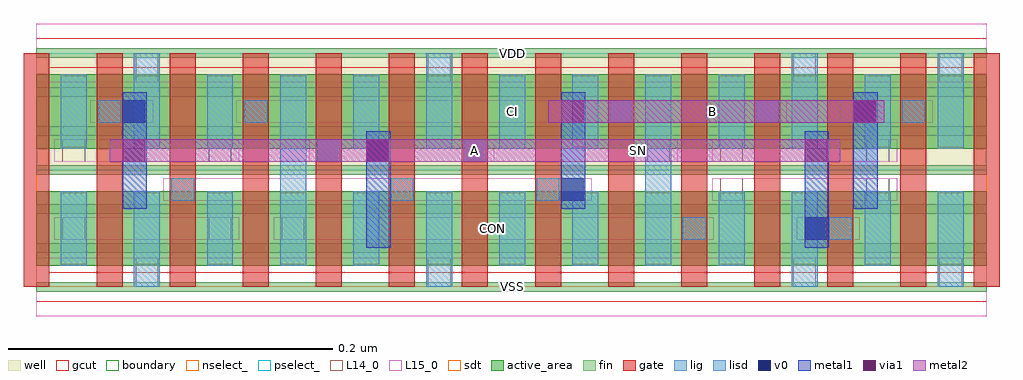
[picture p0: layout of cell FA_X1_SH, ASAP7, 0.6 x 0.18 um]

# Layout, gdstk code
import gdstk
lib = gdstk.Library(unit=1e-6, precision=1e-09)
def R(c, l, rs):  # rectangles x0, y0, x1, y1
    for r in rs: c.add(gdstk.rectangle(r[:2], r[2:], *l))
def A(c, l, x, y, w, h, nx, ny, dx, dy):  # array of equal rectangles
    R(c, l, [(x+i*dx, y+j*dy, x+i*dx+w, y+j*dy+h) for i in range(nx) for j in range(ny)])
def P(c, l, *ps):  # polygons
    for p in ps: c.add(gdstk.Polygon(p, *l))
well = (1, 0)
fin = (2, 0)
gate = (7, 0)
gcut = (10, 0)
active_area = (11, 0)
nselect_ = (12, 0)
pselect_ = (13, 0)
L14_0 = (14, 0)
L15_0 = (15, 0)
lig = (16, 0)
lisd = (17, 0)
v0 = (18, 0)
metal1 = (19, 0)
metal2 = (20, 0)
via1 = (21, 0)
sdt = (88, 0)
boundary = (100, 0)

fa_x1_sh = lib.new_cell('FA_X1_SH')
R(fa_x1_sh, well, [(0,0.072,0.585,0.144)])
A(fa_x1_sh, fin, 0, -0.003, 0.585, 0.006, 1, 7, 0, 0.024)
A(fa_x1_sh, gate, -0.008, 0, 0.016, 0.144, 14, 1, 0.045, 0)
P(fa_x1_sh, gcut, [(0,-0.009),(0,0),(-0.008,0),(-0.008,0.135),(0.008,0.135),(0.008,0.009),(0.577,0.009),(0.577,0.135),(-0.008,0.135),(-0.008,0.144),(0,0.144),(0,0.153),(0.585,0.153),(0.585,0.144),(0.593,0.144),(0.593,0),(0.585,0),(0.585,-0.009)])
R(fa_x1_sh, active_area, [(0,0.013,0.585,0.059), (0,0.085,0.585,0.131)])
R(fa_x1_sh, nselect_, [(0,0,0.585,0.072)])
R(fa_x1_sh, pselect_, [(0,0.072,0.585,0.144)])
A(fa_x1_sh, L14_0, 0.353, 0.101, 0.014, 0.014, 3, 1, 0.09, 0)
R(fa_x1_sh, L14_0, [(0.061,0,0.075,0.018), (0.241,0,0.255,0.018), (0.466,0,0.48,0.018), (0.556,0,0.57,0.018), (0.016,0.029,0.03,0.043), (0.106,0.029,0.12,0.043), (0.151,0.029,0.165,0.043), (0.398,0.029,0.412,0.043), (0.488,0.029,0.502,0.043), (0.083,0.053,0.097,0.067), (0.218,0.053,0.232,0.067), (0.308,0.053,0.322,0.067), (0.421,0.053,0.435,0.067), (0.511,0.053,0.525,0.067), (0.016,0.077,0.03,0.091), (0.106,0.077,0.12,0.091), (0.173,0.077,0.187,0.091), (0.263,0.077,0.277,0.091), (0.376,0.077,0.39,0.091), (0.421,0.077,0.435,0.091), (0.511,0.077,0.525,0.091), (0.038,0.101,0.052,0.115), (0.128,0.101,0.142,0.115), (0.061,0.126,0.075,0.144), (0.241,0.126,0.255,0.144), (0.466,0.126,0.48,0.144), (0.556,0.126,0.57,0.144)])
R(fa_x1_sh, L15_0, [(0,-0.018,0.585,0.018), (0.011,0.029,0.125,0.043), (0.146,0.029,0.417,0.043), (0.468,0.029,0.507,0.043), (0.078,0.053,0.342,0.067), (0.416,0.053,0.53,0.067), (0.011,0.077,0.125,0.091), (0.168,0.077,0.282,0.091), (0.36,0.077,0.395,0.091), (0.416,0.077,0.53,0.091), (0.033,0.101,0.072,0.115), (0.123,0.101,0.462,0.115), (0.495,0.101,0.552,0.115), (0,0.126,0.585,0.162)])
A(fa_x1_sh, lig, 0.353, 0.101, 0.014, 0.014, 3, 1, 0.09, 0)
R(fa_x1_sh, lig, [(0.398,0.029,0.412,0.043), (0.488,0.029,0.502,0.043), (0.083,0.053,0.097,0.067), (0.218,0.053,0.232,0.067), (0.308,0.053,0.322,0.067), (0.173,0.077,0.187,0.091), (0.263,0.077,0.277,0.091), (0.038,0.101,0.052,0.115), (0.128,0.101,0.142,0.115)])
A(fa_x1_sh, lisd, 0.015, 0.013, 0.016, 0.046, 4, 2, 0.09, 0.072)
A(fa_x1_sh, lisd, 0.33, 0.013, 0.016, 0.046, 3, 2, 0.09, 0.072)
R(fa_x1_sh, lisd, [(0.06,0,0.076,0.059), (0.24,0,0.256,0.059), (0.465,0,0.481,0.059), (0.555,0,0.571,0.059), (0.15,0.013,0.166,0.131), (0.375,0.013,0.391,0.131), (0.06,0.085,0.076,0.144), (0.24,0.085,0.256,0.144), (0.465,0.085,0.481,0.144), (0.555,0.085,0.571,0.144)])
R(fa_x1_sh, v0, [(0.473,0.029,0.487,0.043), (0.323,0.053,0.337,0.067), (0.203,0.077,0.217,0.091), (0.053,0.101,0.067,0.115), (0.503,0.101,0.517,0.115)])
R(fa_x1_sh, metal1, [(0.203,0.024,0.218,0.096), (0.473,0.024,0.488,0.096), (0.053,0.048,0.068,0.12), (0.323,0.048,0.338,0.12), (0.503,0.048,0.518,0.12)])
R(fa_x1_sh, metal2, [(0.045,0.077,0.495,0.091), (0.315,0.101,0.522,0.115)])
R(fa_x1_sh, via1, [(0.053,0.077,0.067,0.091), (0.203,0.077,0.217,0.091), (0.473,0.077,0.487,0.091), (0.323,0.101,0.337,0.115), (0.503,0.101,0.517,0.115)])
A(fa_x1_sh, sdt, 0.015, 0.014, 0.016, 0.044, 13, 2, 0.045, 0.072)
R(fa_x1_sh, boundary, [(0,0,0.585,0.144)])
fa_x1_sh.add(gdstk.Label('VSS', (0.293,0), layer=15, texttype=251))
fa_x1_sh.add(gdstk.Label('VDD', (0.293,0.144), layer=15, texttype=251))
fa_x1_sh.add(gdstk.Label('CON', (0.281,0.036), layer=15, texttype=251))
fa_x1_sh.add(gdstk.Label('VSS', (0.293,0), layer=15, texttype=251))
fa_x1_sh.add(gdstk.Label('VDD', (0.293,0.144), layer=15, texttype=251))
fa_x1_sh.add(gdstk.Label('SN', (0.371,0.084), layer=15, texttype=251))
fa_x1_sh.add(gdstk.Label('VSS', (0.293,0), layer=15, texttype=251))
fa_x1_sh.add(gdstk.Label('VDD', (0.293,0.144), layer=15, texttype=251))
fa_x1_sh.add(gdstk.Label('VSS', (0.293,0), layer=15, texttype=251))
fa_x1_sh.add(gdstk.Label('VDD', (0.293,0.144), layer=15, texttype=251))
fa_x1_sh.add(gdstk.Label('CI', (0.293,0.108), layer=15, texttype=251))
fa_x1_sh.add(gdstk.Label('VSS', (0.293,0), layer=15, texttype=251))
fa_x1_sh.add(gdstk.Label('VDD', (0.293,0.144), layer=15, texttype=251))
fa_x1_sh.add(gdstk.Label('VSS', (0.293,0), layer=3, texttype=251))
fa_x1_sh.add(gdstk.Label('VSS', (0.293,0), layer=3, texttype=251))
fa_x1_sh.add(gdstk.Label('VSS', (0.293,0), layer=3, texttype=251))
fa_x1_sh.add(gdstk.Label('VSS', (0.293,0), layer=3, texttype=251))
fa_x1_sh.add(gdstk.Label('VSS', (0.293,0), layer=3, texttype=251))
fa_x1_sh.add(gdstk.Label('VDD', (0.293,0.144), layer=1, texttype=251))
fa_x1_sh.add(gdstk.Label('VDD', (0.293,0.144), layer=1, texttype=251))
fa_x1_sh.add(gdstk.Label('VDD', (0.293,0.144), layer=1, texttype=251))
fa_x1_sh.add(gdstk.Label('VDD', (0.293,0.144), layer=1, texttype=251))
fa_x1_sh.add(gdstk.Label('VDD', (0.293,0.144), layer=1, texttype=251))
fa_x1_sh.add(gdstk.Label('A', (0.27,0.084), layer=20, texttype=251))
fa_x1_sh.add(gdstk.Label('B', (0.416,0.108), layer=20, texttype=251))

lib.write_gds('FA_X1_SH.gds')
